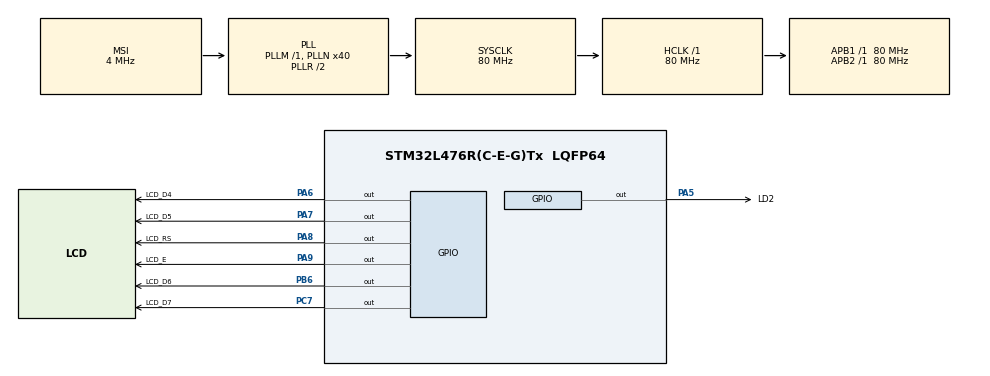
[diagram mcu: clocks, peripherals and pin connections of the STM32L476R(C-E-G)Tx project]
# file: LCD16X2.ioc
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Mcu.Family=STM32L4
Mcu.Name=STM32L476R(C-E-G)Tx
Mcu.Package=LQFP64
NVIC.PriorityGroup=NVIC_PRIORITYGROUP_4
PA5.GPIO_Label=LD2
PA5.Signal=GPIO_Output
PA6.GPIO_Label=LCD_D4
PA6.Signal=GPIO_Output
PA7.GPIO_Label=LCD_D5
PA7.Signal=GPIO_Output
PA8.GPIO_Label=LCD_RS
PA8.Signal=GPIO_Output
PA9.GPIO_Label=LCD_E
PA9.Signal=GPIO_Output
PB6.GPIO_Label=LCD_D6
PB6.Signal=GPIO_Output
PC7.GPIO_Label=LCD_D7
PC7.Signal=GPIO_Output
ProjectManager.HeapSize=0x200
ProjectManager.StackSize=0x400
ProjectManager.TargetToolchain=STM32CubeIDE
RCC.AHBFreq_Value=80000000
RCC.APB1Freq_Value=80000000
RCC.APB1TimFreq_Value=80000000
RCC.APB2Freq_Value=80000000
RCC.APB2TimFreq_Value=80000000
RCC.CortexFreq_Value=80000000
RCC.HCLKFreq_Value=80000000
RCC.HSE_VALUE=8000000
RCC.HSI_VALUE=16000000
RCC.LSE_VALUE=32768
RCC.MSI_VALUE=4000000
RCC.PLLN=40
RCC.SYSCLKFreq_VALUE=80000000
RCC.SYSCLKSource=RCC_SYSCLKSOURCE_PLLCLK
RCC.VCOOutputFreq_Value=160000000
TIM3.Prescaler=79
VP_TIM3_VS_ClockSourceINT.Mode=Internal
board=custom

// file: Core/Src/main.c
/* USER CODE BEGIN Header */
/**
  ******************************************************************************
  * @file           : main.c
  * @brief          : Main program body
  ******************************************************************************
  * @attention
  *
  * Copyright (c) 2023 STMicroelectronics.
  * All rights reserved.
  *
  * This software is licensed under terms that can be found in the LICENSE file
  * in the root directory of this software component.
  * If no LICENSE file comes with this software, it is provided AS-IS.
  *
  ******************************************************************************
  */
/* USER CODE END Header */
#include "main.h"
#include "tim.h"
#include "gpio.h"

void SystemClock_Config(void);

int main(void)
{

  /* MCU Configuration--------------------------------------------------------*/

  /* Reset of all peripherals, Initializes the Flash interface and the Systick. */
  HAL_Init();

  /* Configure the system clock */
  SystemClock_Config();

  /* Initialize all configured peripherals */
  MX_GPIO_Init();
  MX_TIM3_Init();
  /* USER CODE BEGIN 2 */
  HAL_TIM_Base_Start(&htim3);
  LCD_Init();
  /* USER CODE END 2 */

  /* Infinite loop */
  while (1)
  {

    /* USER CODE BEGIN 3 */
	  // Measurement start
	  LCD_Cls();
	  LCD_Locate(0,0);
	  LCD_String("O ktorej");
	  LCD_Locate(0,1);
	  LCD_String("zawijka?");
	  // Measurement end
	  HAL_GPIO_TogglePin(LD2_GPIO_Port, LD2_Pin);
	  HAL_Delay(2000);
	  LCD_Cls();
	  LCD_Locate(0,0);
	  LCD_String("Jutro ");
	  LCD_Locate(0,1);
	  LCD_String("latamy :) ");
	  HAL_Delay(2000);
  }
  /* USER CODE END 3 */
}

void SystemClock_Config(void)
{
  RCC_OscInitTypeDef RCC_OscInitStruct = {0};
  RCC_ClkInitTypeDef RCC_ClkInitStruct = {0};

  /** Configure the main internal regulator output voltage
  */
  if (HAL_PWREx_ControlVoltageScaling(PWR_REGULATOR_VOLTAGE_SCALE1) != HAL_OK)
  {
    Error_Handler();
  }

  /** Initializes the RCC Oscillators according to the specified parameters
  * in the RCC_OscInitTypeDef structure.
  */
  RCC_OscInitStruct.OscillatorType = RCC_OSCILLATORTYPE_MSI;
  RCC_OscInitStruct.MSIState = RCC_MSI_ON;
  RCC_OscInitStruct.MSICalibrationValue = 0;
  RCC_OscInitStruct.MSIClockRange = RCC_MSIRANGE_6;
  RCC_OscInitStruct.PLL.PLLState = RCC_PLL_ON;
  RCC_OscInitStruct.PLL.PLLSource = RCC_PLLSOURCE_MSI;
  RCC_OscInitStruct.PLL.PLLM = 1;
  RCC_OscInitStruct.PLL.PLLN = 40;
  RCC_OscInitStruct.PLL.PLLP = RCC_PLLP_DIV7;
  RCC_OscInitStruct.PLL.PLLQ = RCC_PLLQ_DIV2;
  RCC_OscInitStruct.PLL.PLLR = RCC_PLLR_DIV2;
  if (HAL_RCC_OscConfig(&RCC_OscInitStruct) != HAL_OK)
  {
    Error_Handler();
  }

  /** Initializes the CPU, AHB and APB buses clocks
  */
  RCC_ClkInitStruct.ClockType = RCC_CLOCKTYPE_HCLK|RCC_CLOCKTYPE_SYSCLK
                              |RCC_CLOCKTYPE_PCLK1|RCC_CLOCKTYPE_PCLK2;
  RCC_ClkInitStruct.SYSCLKSource = RCC_SYSCLKSOURCE_PLLCLK;
  RCC_ClkInitStruct.AHBCLKDivider = RCC_SYSCLK_DIV1;
  RCC_ClkInitStruct.APB1CLKDivider = RCC_HCLK_DIV1;
  RCC_ClkInitStruct.APB2CLKDivider = RCC_HCLK_DIV1;

  if (HAL_RCC_ClockConfig(&RCC_ClkInitStruct, FLASH_LATENCY_4) != HAL_OK)
  {
    Error_Handler();
  }
}

void Error_Handler(void)
{
  __disable_irq();
  while (1)
  {
  }
}
